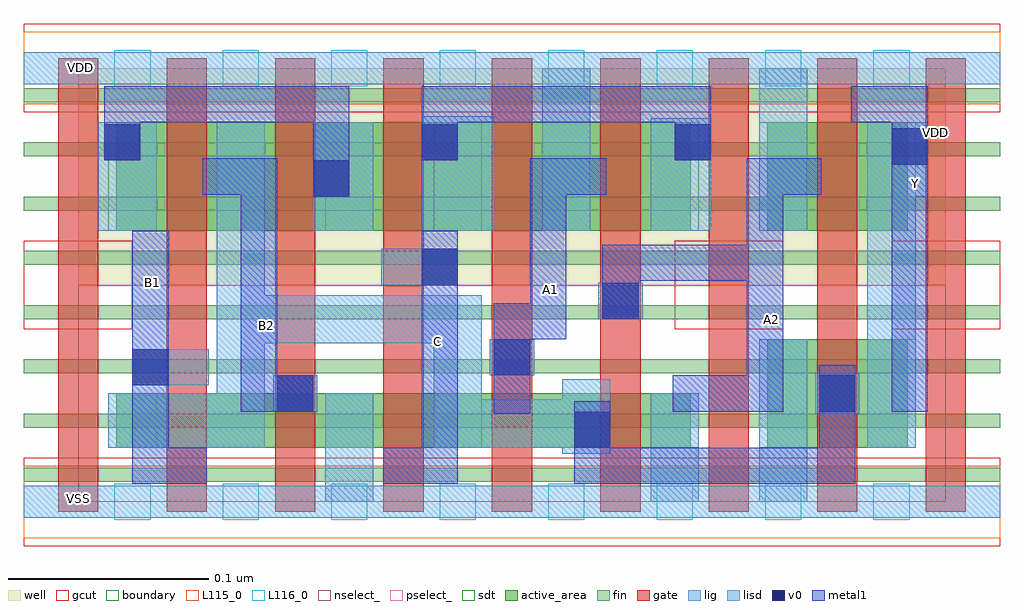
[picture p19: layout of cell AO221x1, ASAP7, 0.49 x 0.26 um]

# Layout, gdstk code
import gdstk
lib = gdstk.Library(unit=1e-6, precision=2.5e-10)
def R(c, l, rs):  # rectangles x0, y0, x1, y1
    for r in rs: c.add(gdstk.rectangle(r[:2], r[2:], *l))
def A(c, l, x, y, w, h, nx, ny, dx, dy):  # array of equal rectangles
    R(c, l, [(x+i*dx, y+j*dy, x+i*dx+w, y+j*dy+h) for i in range(nx) for j in range(ny)])
def P(c, l, *ps):  # polygons
    for p in ps: c.add(gdstk.Polygon(p, *l))
well = (1, 0)
fin = (2, 0)
gate = (7, 0)
gcut = (10, 0)
active_area = (11, 0)
nselect_ = (12, 0)
pselect_ = (13, 0)
lig = (16, 0)
lisd = (17, 0)
v0 = (18, 0)
metal1 = (19, 0)
sdt = (88, 0)
boundary = (100, 0)
L115_0 = (115, 0)
L116_0 = (116, 0)

ao221x1 = lib.new_cell('AO221x1')
R(ao221x1, well, [(0,0.108,0.432,0.216)])
A(ao221x1, fin, -0.027, 0.01, 0.486, 0.007, 1, 8, 0, 0.027)
A(ao221x1, gate, -0.01, -0.005, 0.02, 0.226, 9, 1, 0.054, 0)
R(ao221x1, gate, [(0.422,-0.005,0.442,0.221), (0.422,-0.005,0.442,0.221)])
R(ao221x1, gcut, [(-0.027,-0.022,0.459,0.022), (-0.027,0.086,0.027,0.13), (0.297,0.086,0.351,0.13), (0.405,0.086,0.459,0.13), (-0.027,0.194,0.459,0.238)])
R(ao221x1, active_area, [(0.019,0.027,0.305,0.054), (0.343,0.027,0.413,0.081), (0.019,0.135,0.305,0.189), (0.343,0.135,0.413,0.189)])
R(ao221x1, nselect_, [(0,0,0.432,0.108)])
R(ao221x1, pselect_, [(0,0.108,0.432,0.216)])
R(ao221x1, lig, [(-0.027,-0.008,0.459,0.008), (0.367,0.044,0.389,0.064), (0.097,0.045,0.119,0.063), (0.027,0.058,0.065,0.076), (0.205,0.063,0.227,0.081), (0.259,0.091,0.281,0.109), (0.151,0.108,0.189,0.126), (-0.027,0.208,0.459,0.224)])
R(ao221x1, lisd, [(0.123,0,0.147,0.054), (0.285,0,0.309,0.054), (0.339,0,0.363,0.081), (0.241,0.024,0.265,0.061), (0.177,0.027,0.201,0.079), (0.177,0.027,0.265,0.051), (0.093,0.079,0.201,0.103), (0.01,0.135,0.039,0.189), (0.117,0.135,0.147,0.189), (0.171,0.135,0.207,0.192), (0.231,0.135,0.255,0.216), (0.285,0.135,0.315,0.191), (0.339,0.135,0.363,0.216)])
P(ao221x1, lisd, [(0.093,0.189),(0.069,0.189),(0.069,0.054),(0.015,0.054),(0.015,0.027),(0.093,0.027)],
  [(0.423,0.189),(0.393,0.189),(0.393,0.027),(0.417,0.027),(0.417,0.152),(0.423,0.152)])
R(ao221x1, v0, [(0.247,0.027,0.265,0.045), (0.099,0.045,0.117,0.063), (0.369,0.045,0.387,0.063), (0.027,0.058,0.045,0.076), (0.207,0.063,0.225,0.081), (0.261,0.091,0.279,0.109), (0.171,0.108,0.189,0.126), (0.117,0.152,0.135,0.17), (0.405,0.168,0.423,0.186), (0.013,0.17,0.031,0.188), (0.171,0.17,0.189,0.188), (0.297,0.17,0.315,0.188)])
R(ao221x1, metal1, [(0.027,0.009,0.045,0.135), (0.027,0.009,0.064,0.027), (0.152,0.009,0.189,0.027), (0.171,0.009,0.189,0.135), (0.247,0.009,0.265,0.05), (0.247,0.009,0.387,0.027), (0.369,0.027,0.387,0.068), (0.207,0.044,0.225,0.099), (0.081,0.045,0.117,0.063), (0.081,0.045,0.099,0.171), (0.296,0.045,0.333,0.063), (0.333,0.045,0.351,0.171), (0.405,0.045,0.423,0.207), (0.225,0.081,0.243,0.153), (0.261,0.091,0.279,0.128), (0.261,0.11,0.333,0.128), (0.117,0.152,0.135,0.207), (0.062,0.153,0.099,0.171), (0.225,0.153,0.263,0.171), (0.333,0.153,0.37,0.171), (0.013,0.17,0.031,0.207), (0.171,0.17,0.189,0.207), (0.297,0.17,0.315,0.207), (0.017,0.189,0.135,0.207), (0.189,0.189,0.315,0.207), (0.385,0.189,0.423,0.207)])
A(ao221x1, sdt, 0.015, 0.135, 0.024, 0.054, 8, 1, 0.054, 0)
R(ao221x1, sdt, [(0.015,0.027,0.039,0.054), (0.123,0.027,0.147,0.054), (0.177,0.027,0.201,0.054), (0.285,0.027,0.309,0.054), (0.339,0.027,0.363,0.081), (0.393,0.027,0.417,0.081)])
R(ao221x1, boundary, [(0,0,0.432,0.216)])
R(ao221x1, L115_0, [(-0.027,-0.018,0.459,0.018), (-0.027,0.198,0.459,0.234)])
A(ao221x1, L116_0, 0.018, -0.009, 0.018, 0.018, 8, 2, 0.054, 0.216)
ao221x1.add(gdstk.Label('VSS', (0.473,0.183), layer=3, texttype=251))
ao221x1.add(gdstk.Label('VDD', (0.427,0.184), layer=1, texttype=251))
ao221x1.add(gdstk.Label('A1', (0.235,0.106), layer=19, texttype=251))
ao221x1.add(gdstk.Label('Y', (0.417,0.1585), layer=19, texttype=251))
ao221x1.add(gdstk.Label('A2', (0.345,0.091), layer=19, texttype=251))
ao221x1.add(gdstk.Label('B1', (0.037,0.109), layer=19, texttype=251))
ao221x1.add(gdstk.Label('B2', (0.094,0.088), layer=19, texttype=251))
ao221x1.add(gdstk.Label('C', (0.179,0.08), layer=19, texttype=251))
ao221x1.add(gdstk.Label('VSS', (0,0.0015), layer=115, texttype=251))
ao221x1.add(gdstk.Label('VDD', (0.001,0.2165), layer=115, texttype=251))

lib.write_gds('AO221x1.gds')
